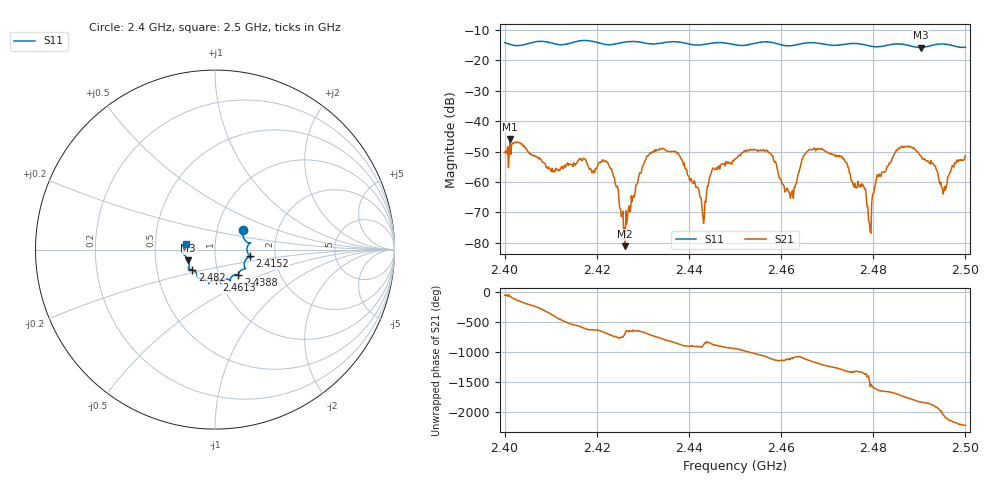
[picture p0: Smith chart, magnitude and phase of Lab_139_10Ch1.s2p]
# Hz S RI R 50
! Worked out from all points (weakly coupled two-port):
!   601 points, 2.4 GHz to 2.5 GHz, reference 50 ohm
!   highest |S21| = -45.85 dB at 2.4012 GHz (marker M1); lowest = -81.0 dB at 2.4262 GHz (marker M2)
!   lowest |S11| = -15.9 dB at 2.4903 GHz (marker M3), VSWR 1.38, Z = 36.8 - j4.44 ohm
!   |S11| at or under -10 dB: start of sweep to end of sweep
!   S12 and S22 are empty: the file has one direction only
!   S11 on the Smith chart (normalised r, x): 2.4 GHz: 1.33, +0.31; 2.4152 GHz: 1.48, -0.11; 2.4388 GHz: 1.24, -0.36; 2.4613 GHz: 0.96, -0.34; 2.482 GHz: 0.76, -0.17; 2.5 GHz: 0.72, +0.05
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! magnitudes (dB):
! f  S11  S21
! 2.4 GHz  -14.3  -50.2
! 2.4012 GHz  -14.8  -45.9
! 2.4152 GHz  -14.1  -54.2
! 2.4167 GHz  -13.6  -52.5
! 2.4227 GHz  -15.0  -54.7
! 2.4262 GHz  -14.1  -81.0
! 2.4305 GHz  -14.4  -52.9
! 2.4333 GHz  -14.6  -49.4
! 2.4388 GHz  -14.4  -54.5
! 2.4432 GHz  -14.9  -73.6
! 2.445 GHz  -14.5  -56.1
! 2.45 GHz  -15.0  -52.5
! 2.4572 GHz  -14.1  -50.0
! 2.4613 GHz  -15.3  -62.0
! 2.4667 GHz  -14.3  -49.5
! 2.4737 GHz  -14.9  -52.5
! 2.4792 GHz  -15.4  -73.4
! 2.482 GHz  -15.5  -56.8
! 2.4833 GHz  -15.0  -54.5
! 2.4903 GHz  -15.9  -51.6
! 2.4953 GHz  -14.8  -62.9
! 2.5 GHz  -15.8  -51.4
